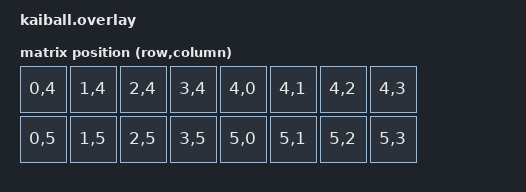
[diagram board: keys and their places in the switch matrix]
#include <dt-bindings/zmk/matrix_transform.h>



/ {
	chosen {
		zmk,kscan = &kscan0;
		zmk,matrix_transform = &default_transform;
	};
	
	kscan0: kscan {
		compatible = "zmk,kscan-gpio-charlieplex";
		label = "KSCAN";

        
        	gpios
          	= <&xiao_d 0 (GPIO_ACTIVE_HIGH | GPIO_PULL_DOWN) >
          	, <&xiao_d 1 (GPIO_ACTIVE_HIGH | GPIO_PULL_DOWN) >
          	, <&xiao_d 2 (GPIO_ACTIVE_HIGH | GPIO_PULL_DOWN) >
          	, <&xiao_d 3 (GPIO_ACTIVE_HIGH | GPIO_PULL_DOWN) >
		, <&xiao_d 4 (GPIO_ACTIVE_HIGH | GPIO_PULL_DOWN) >
          	, <&xiao_d 5 (GPIO_ACTIVE_HIGH | GPIO_PULL_DOWN) >
	  	;
	};


	default_transform: keymap_transform_0 {
		compatible = "zmk,matrix-transform";
		rows = <2>;
		columns = <8>;
		map = <
			RC(0,4) RC(1,4) RC(2,4) RC(3,4) RC(4,0) RC(4,1) RC(4,2) RC(4,3)   
			RC(0,5) RC(1,5) RC(2,5) RC(3,5) RC(5,0) RC(5,1) RC(5,2) RC(5,3)
		>;
	};
};
